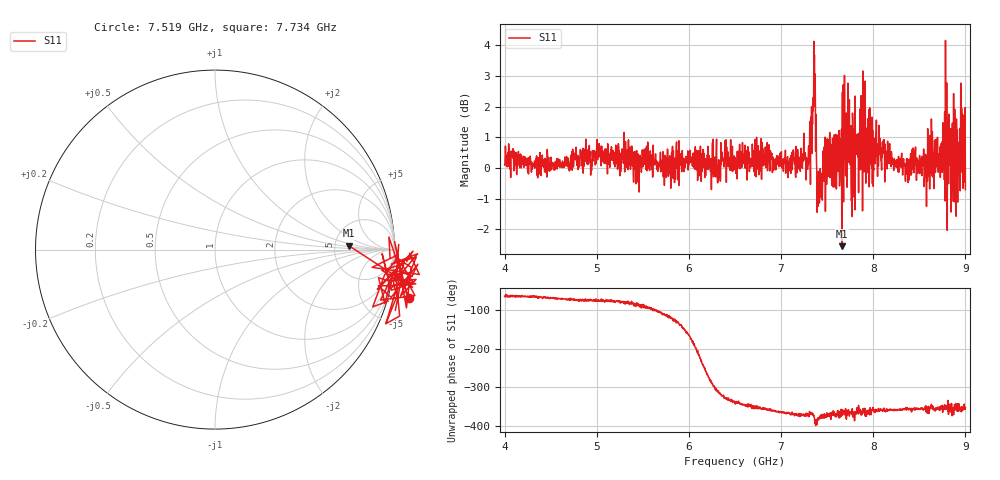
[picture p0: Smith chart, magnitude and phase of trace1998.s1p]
! Created with skrf 1.8.0 (http://scikit-rf.org).
# Hz S RI R 50.0
!freq ReS11 ImS11
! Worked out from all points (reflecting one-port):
!   1601 points, 4 GHz to 9 GHz, reference 50 ohm
!   lowest |S11| = -2.5 dB at 7.659 GHz (marker M1), VSWR 6.87, Z = 340 + j33.8 ohm
!   phase of S11 starts at -64 deg and turns -290 deg over the sweep
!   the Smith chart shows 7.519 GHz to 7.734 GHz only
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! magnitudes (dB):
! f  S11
! 4 GHz  0.1
! 4.625 GHz  0.0
! 5.016 GHz  0.7
! 5.25 GHz  -0.2
! 5.875 GHz  0.6
! 6.5 GHz  0.1
! 7.125 GHz  0.5
! 7.294 GHz  0.1
! 7.347 GHz  1.9
! 7.369 GHz  3.1
! 7.397 GHz  -1.0
! 7.412 GHz  -0.2
! 7.512 GHz  0.2
! 7.578 GHz  1.1
! 7.659 GHz  -2.5
! 7.688 GHz  3.0
! 7.75 GHz  0.1
! 7.775 GHz  1.8
! 7.8 GHz  -1.4
! 7.891 GHz  0.7
! 7.981 GHz  0.0
! 8.05 GHz  0.7
! 8.375 GHz  0.2
! 8.578 GHz  -1.2
! 8.809 GHz  0.7
! 8.9 GHz  -1.6
! 8.972 GHz  0.5
! 9 GHz  -0.7
